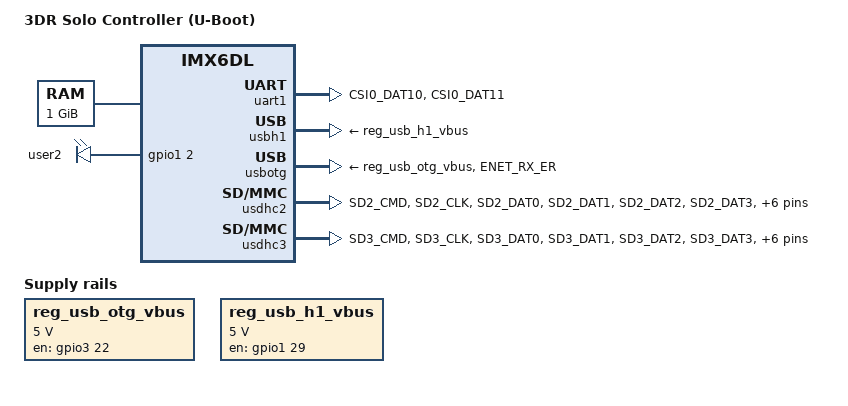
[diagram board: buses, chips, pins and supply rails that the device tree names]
// SPDX-License-Identifier: GPL-2.0+
/*
 * 3DR Solo controller (Artoo) - U-Boot device tree
 */

/dts-v1/;

#include <dt-bindings/gpio/gpio.h>

#include "imx6dl.dtsi"

/ {
	model = "3DR Solo Controller (U-Boot)";
	compatible = "3dr,solo-controller", "fsl,imx6dl";

	chosen {
		stdout-path = &uart1;
	};
};

/ {
	memory@10000000 {
		device_type = "memory";
		reg = <0x10000000 0x40000000>;
	};

	leds {
		compatible = "gpio-leds";

		led1: user2 {
			label = "user2";
			gpios = <&gpio1 2 GPIO_ACTIVE_HIGH>;
			default-state = "off";
			linux,default-trigger = "phy0assoc";
		};
	};

	regulators {
		compatible = "simple-bus";

		reg_usb_otg_vbus: usb_otg_vbus {
			compatible = "regulator-fixed";
			regulator-name = "usb_otg_vbus";
			regulator-min-microvolt = <5000000>;
			regulator-max-microvolt = <5000000>;
			gpio = <&gpio3 22 GPIO_ACTIVE_HIGH>;
			enable-active-high;
		};

		reg_usb_h1_vbus: usb_h1_vbus {
			compatible = "regulator-fixed";
			regulator-name = "usb_h1_vbus";
			regulator-min-microvolt = <5000000>;
			regulator-max-microvolt = <5000000>;
			gpio = <&gpio1 29 GPIO_ACTIVE_HIGH>;
			enable-active-high;
		};
	};
};

&gpc {
	fsl,cpu_pupscr_sw2iso = <0xf>;
	fsl,cpu_pupscr_sw = <0xf>;
	fsl,cpu_pdnscr_iso2sw = <0x1>;
	fsl,cpu_pdnscr_iso = <0x1>;
	fsl,ldo-bypass = <0>;
	fsl,wdog-reset = <1>;
	pu-supply = <&reg_pu>;
};

&iomuxc {
	pinctrl-names = "default";
	pinctrl-0 = <&pinctrl_hog_1>;

	hog {
		pinctrl_hog_1: hoggrp-1 {
			fsl,pins = <
				MX6QDL_PAD_GPIO_4__GPIO1_IO04 0x80000000
				MX6QDL_PAD_GPIO_5__GPIO1_IO05 0x80000000
				MX6QDL_PAD_EIM_D26__GPIO3_IO26 0x80000000
				MX6QDL_PAD_EIM_CS1__GPIO2_IO24 0x80000000
				MX6QDL_PAD_EIM_A25__GPIO5_IO02 0x80000000
				MX6QDL_PAD_EIM_D23__GPIO3_IO23 0x80000000
				MX6QDL_PAD_EIM_D22__GPIO3_IO22 0x80000000
				MX6QDL_PAD_EIM_D16__GPIO3_IO16 0x80000000
				MX6QDL_PAD_EIM_DA9__GPIO3_IO09 0x80000000
				MX6QDL_PAD_EIM_D29__GPIO3_IO29 0x80000000
				MX6QDL_PAD_SD3_RST__GPIO7_IO08 0x80000000
				MX6QDL_PAD_GPIO_9__GPIO1_IO09 0x80000000
				MX6QDL_PAD_GPIO_1__WDOG2_B 0x80000000
				MX6QDL_PAD_GPIO_2__GPIO1_IO02 0x80000000
				MX6QDL_PAD_NANDF_CS3__GPIO6_IO16 0x80000000
				MX6QDL_PAD_NANDF_WP_B__GPIO6_IO09 0x80000000
				MX6QDL_PAD_SD1_DAT3__GPIO1_IO21 0x80000000
				MX6QDL_PAD_SD1_DAT2__GPIO1_IO19 0x80000000
				MX6QDL_PAD_SD4_DAT5__GPIO2_IO13 0x80000000
				MX6QDL_PAD_SD4_DAT6__GPIO2_IO14 0x80000000
			>;
		};
	};

	uart1 {
		pinctrl_uart1_1: uart1grp-1 {
			fsl,pins = <
				MX6QDL_PAD_CSI0_DAT10__UART1_TX_DATA 0x1b0b1
				MX6QDL_PAD_CSI0_DAT11__UART1_RX_DATA 0x1b0b1
			>;
		};
	};

	usbotg {
		pinctrl_usbotg_2: usbotggrp-2 {
			fsl,pins = <
				MX6QDL_PAD_ENET_RX_ER__USB_OTG_ID 0x17059
			>;
		};
	};

	usdhc2 {
		pinctrl_usdhc2_1: usdhc2grp-1 {
			fsl,pins = <
				MX6QDL_PAD_SD2_CMD__SD2_CMD 0x17059
				MX6QDL_PAD_SD2_CLK__SD2_CLK 0x10059
				MX6QDL_PAD_SD2_DAT0__SD2_DATA0 0x17059
				MX6QDL_PAD_SD2_DAT1__SD2_DATA1 0x17059
				MX6QDL_PAD_SD2_DAT2__SD2_DATA2 0x17059
				MX6QDL_PAD_SD2_DAT3__SD2_DATA3 0x17059
				MX6QDL_PAD_NANDF_D4__SD2_DATA4 0x17059
				MX6QDL_PAD_NANDF_D5__SD2_DATA5 0x17059
				MX6QDL_PAD_NANDF_D6__SD2_DATA6 0x17059
				MX6QDL_PAD_NANDF_D7__SD2_DATA7 0x17059
			>;
		};
	};

	usdhc3 {
		pinctrl_usdhc3_1: usdhc3grp-1 {
			fsl,pins = <
				MX6QDL_PAD_SD3_CMD__SD3_CMD 0x17059
				MX6QDL_PAD_SD3_CLK__SD3_CLK 0x10059
				MX6QDL_PAD_SD3_DAT0__SD3_DATA0 0x17059
				MX6QDL_PAD_SD3_DAT1__SD3_DATA1 0x17059
				MX6QDL_PAD_SD3_DAT2__SD3_DATA2 0x17059
				MX6QDL_PAD_SD3_DAT3__SD3_DATA3 0x17059
				MX6QDL_PAD_SD3_DAT4__SD3_DATA4 0x17059
				MX6QDL_PAD_SD3_DAT5__SD3_DATA5 0x17059
				MX6QDL_PAD_SD3_DAT6__SD3_DATA6 0x17059
				MX6QDL_PAD_SD3_DAT7__SD3_DATA7 0x17059
			>;
		};
	};
};

&uart1 {
	pinctrl-names = "default";
	pinctrl-0 = <&pinctrl_uart1_1>;
	status = "okay";
};

&usbh1 {
	vbus-supply = <&reg_usb_h1_vbus>;
	status = "okay";
};

&usbotg {
	vbus-supply = <&reg_usb_otg_vbus>;
	pinctrl-names = "default";
	pinctrl-0 = <&pinctrl_usbotg_2>;
	disable-over-current;
	status = "okay";
};

&usdhc2 {
	pinctrl-names = "default";
	pinctrl-0 = <&pinctrl_usdhc2_1>;
	cd-gpios = <&gpio2 2 GPIO_ACTIVE_LOW>;
	wp-gpios = <&gpio2 3 GPIO_ACTIVE_HIGH>;
	no-1-8-v;
	keep-power-in-suspend;
	enable-sdio-wakeup;
	status = "okay";
};

&usdhc3 {
	pinctrl-names = "default";
	pinctrl-0 = <&pinctrl_usdhc3_1>;
	cd-gpios = <&gpio2 0 GPIO_ACTIVE_LOW>;
	wp-gpios = <&gpio2 1 GPIO_ACTIVE_HIGH>;
	no-1-8-v;
	keep-power-in-suspend;
	enable-sdio-wakeup;
	status = "okay";
};
